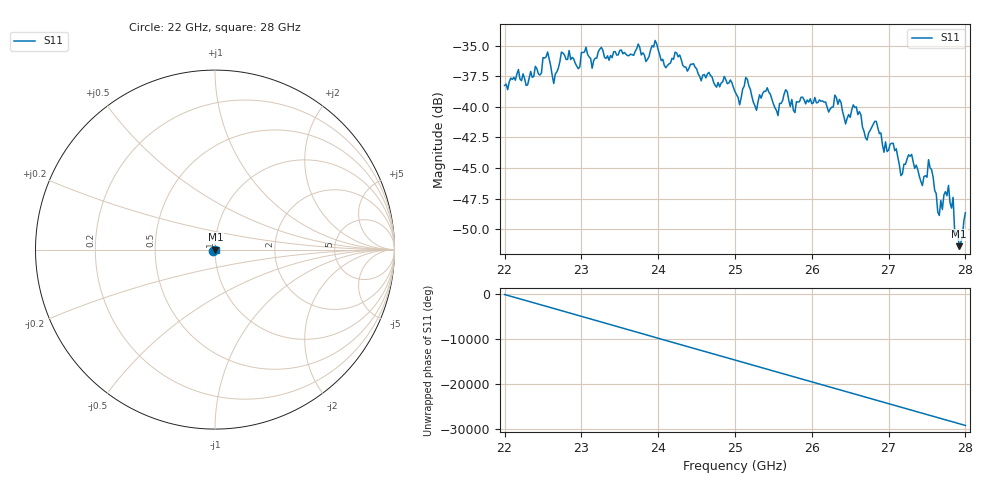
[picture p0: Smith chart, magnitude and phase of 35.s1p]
#  HZ  S  RI  R  50.00
! Rohde & Schwarz ZVA40 4Ports - Version 3.90 - 1145.1110k42 SN: 100403
! Date: 2023-10-04 06:13:07
! Measurement: S12
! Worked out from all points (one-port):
!   301 points, 22 GHz to 28 GHz, reference 50 ohm
!   lowest |S11| = -51.4 dB at 27.92 GHz (marker M1), VSWR 1.01, Z = 50.3 + j0.0371 ohm
!   |S11| at or under -10 dB: start of sweep to end of sweep
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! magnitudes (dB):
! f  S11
! 22 GHz  -38.2
! 22.3 GHz  -38.2
! 22.56 GHz  -35.5
! 22.64 GHz  -38.1
! 22.76 GHz  -35.6
! 23.5 GHz  -35.4
! 24.26 GHz  -35.9
! 25 GHz  -38.7
! 25.06 GHz  -39.8
! 25.14 GHz  -37.6
! 25.28 GHz  -40.3
! 25.42 GHz  -38.4
! 25.56 GHz  -40.7
! 25.66 GHz  -38.6
! 25.76 GHz  -40.3
! 26.3 GHz  -39.0
! 26.5 GHz  -40.9
! 26.58 GHz  -40.0
! 26.72 GHz  -42.7
! 26.84 GHz  -41.2
! 27.16 GHz  -45.6
! 27.26 GHz  -43.9
! 27.44 GHz  -46.4
! 27.52 GHz  -44.3
! 27.66 GHz  -48.9
! 27.78 GHz  -46.4
! 27.92 GHz  -51.4
! 28 GHz  -48.7
